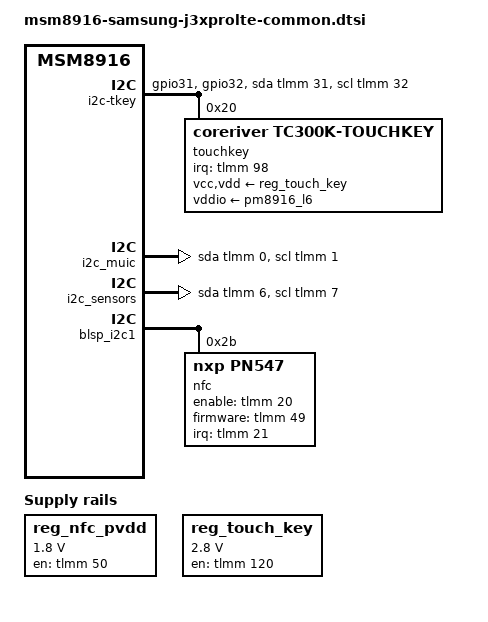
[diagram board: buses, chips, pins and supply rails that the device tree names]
// SPDX-License-Identifier: GPL-2.0-only

#include "msm8916-samsung-j3-common.dtsi"
#include "msm8916-samsung-sm5703.dtsi"

/ {
	reg_nfc_pvdd: regulator-nfc-pvdd {
		compatible = "regulator-fixed";
		regulator-name = "nfc_pvdd";
		regulator-min-microvolt = <1800000>;
		regulator-max-microvolt = <1800000>;
		gpio = <&tlmm 50 GPIO_ACTIVE_HIGH>;
		enable-active-high;
		regulator-always-on;
	};

	reg_touch_key: regulator-touch-key {
		compatible = "regulator-fixed";
		regulator-name = "touch_key";
		regulator-min-microvolt = <2800000>;
		regulator-max-microvolt = <2800000>;

		gpio = <&tlmm 120 GPIO_ACTIVE_HIGH>;
		enable-active-high;

		pinctrl-0 = <&tkey_en_default>;
		pinctrl-names = "default";
	};

	i2c-tkey {
		compatible = "i2c-gpio";
		sda-gpios = <&tlmm 31 (GPIO_ACTIVE_HIGH|GPIO_OPEN_DRAIN)>;
		scl-gpios = <&tlmm 32 (GPIO_ACTIVE_HIGH|GPIO_OPEN_DRAIN)>;

		pinctrl-0 = <&tkey_i2c_default>;
		pinctrl-names = "default";

		#address-cells = <1>;
		#size-cells = <0>;

		touchkey@20 {
			compatible = "coreriver,tc300k-touchkey";
			reg = <0x20>;

			interrupt-parent = <&tlmm>;
			interrupts = <98 IRQ_TYPE_EDGE_FALLING>;

			vcc-supply = <&reg_touch_key>;
			vdd-supply = <&reg_touch_key>;
			vddio-supply = <&pm8916_l6>;

			linux,keycodes = <KEY_APPSELECT KEY_BACK>;

			pinctrl-0 = <&tkey_default>;
			pinctrl-names = "default";
		};
	};
};

&battery {
	constant-charge-voltage-max-microvolt = <4330000>;
};

&fuel_gauge {
	siliconmitus,discharge-table = <0x1400 0x1b67 0x1cdd 0x1d6f
					0x1d8b 0x1de2 0x1e32 0x1e63
					0x1eab 0x1edf 0x1f06 0x1f54
					0x1fc5 0x20a0 0x2261 0x2399>;
	siliconmitus,charge-table = <0x1400 0x1b67 0x1cdd 0x1d6f
				     0x1d8b 0x1de2 0x1e32 0x1e63
				     0x1eab 0x1edf 0x1f06 0x1f54
				     0x1fc5 0x20a0 0x2261 0x2399>;
	siliconmitus,q-table = <0x0000 0x0035 0x00bf 0x0144
				0x02d9 0x03e9 0x0602 0x0821
				0x0a3b 0x0b4b 0x0bd5 0x0c5a
				0x0def 0x1093 0x14cc 0x14dc>;
	siliconmitus,rce = <0x0749 0x0580 0x0371>;
	siliconmitus,rs = <0x01ae 0x047a 0x3800 0x00a4>;
	siliconmitus,mix = <0x0503 0x0004>;
	siliconmitus,topoff-soc = <0 5>;
	siliconmitus,dtcd = <1>;
	siliconmitus,vit-period = <0x350a>;
	siliconmitus,volt-cal = <0x809e>;
	siliconmitus,curr-cal = <0x7185>;
	siliconmitus,temp-offset-cal = <1>;
	siliconmitus,charge-offset-cal = <0>;
	siliconmitus,temp-poff = <3400 100 3380 80>;
	siliconmitus,ext-temp-cal = <1 10 1 1 1 7 2 2>;
	siliconmitus,min-charge-current-milliamp = <100>;
};

&reg_vdd_lcd_3p0 {
	/* Keep the display powered until the panel driver takes over */
	regulator-boot-on;
};

&sound {
	model = "samsung-j3xpro";
};

&i2c_muic {
	sda-gpios = <&tlmm 0 (GPIO_ACTIVE_HIGH|GPIO_OPEN_DRAIN)>;
	scl-gpios = <&tlmm 1 (GPIO_ACTIVE_HIGH|GPIO_OPEN_DRAIN)>;
};

&i2c_sensors {
	/* I2C2 */
	sda-gpios = <&tlmm 6 (GPIO_ACTIVE_HIGH|GPIO_OPEN_DRAIN)>;
	scl-gpios = <&tlmm 7 (GPIO_ACTIVE_HIGH|GPIO_OPEN_DRAIN)>;
};

&muic_i2c_default {
	pins = "gpio0", "gpio1";
};

&sensors_i2c_default {
	/* I2C2 */
	pins = "gpio6", "gpio7";
};

&blsp_i2c1 {
	status = "okay";

	nfc@2b {
		compatible = "nxp,pn547", "nxp,nxp-nci-i2c";
		reg = <0x2b>;

		interrupt-parent = <&tlmm>;
		interrupts = <21 IRQ_TYPE_EDGE_RISING>;

		enable-gpios = <&tlmm 20 GPIO_ACTIVE_HIGH>;
		firmware-gpios = <&tlmm 49 GPIO_ACTIVE_HIGH>;

		pinctrl-0 = <&nfc_default>;
		pinctrl-names = "default";
	};
};

&tlmm {
	nfc_default: nfc-default-state {
		irq-pins {
			pins = "gpio21";
			function = "gpio";
			drive-strength = <2>;
			bias-pull-down;
		};

		nfc-pins {
			pins = "gpio49", "gpio20", "gpio50";
			function = "gpio";
			drive-strength = <2>;
			bias-disable;
		};
	};

	tkey_default: tkey-default-state {
		pins = "gpio98";
		function = "gpio";
		drive-strength = <2>;
		bias-disable;
	};

	tkey_en_default: tkey-en-default-state {
		pins = "gpio120";
		function = "gpio";
		drive-strength = <2>;
		bias-disable;
	};

	tkey_i2c_default: tkey-i2c-default-state {
		pins = "gpio31", "gpio32";
		function = "gpio";
		drive-strength = <2>;
		bias-disable;
	};
};
